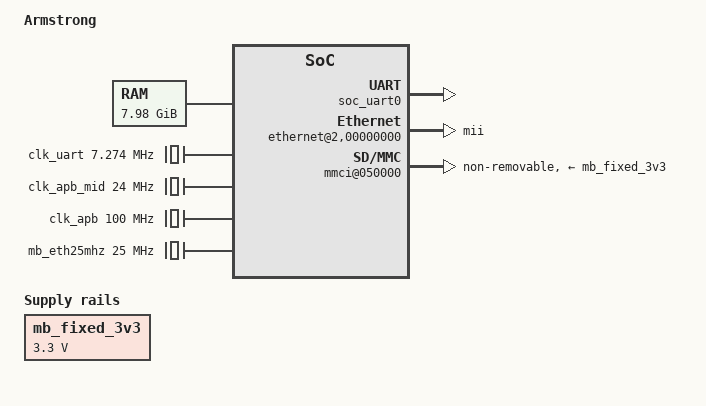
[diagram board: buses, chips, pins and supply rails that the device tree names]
/dts-v1/;

#include <dt-bindings/interrupt-controller/arm-gic.h>

/ {
	model = "Armstrong";
	compatible = "arm,armstrong";
	interrupt-parent = <&gic>;
	#address-cells = <2>;
	#size-cells = <2>;

	aliases {
		serial0 = &soc_uart0;
	};

	cpus {
		#address-cells = <2>;
		#size-cells = <0>;

		cpu-map {
			cluster1 {
				core0 {
					cpu = <&CPU4>;
				};
				core1 {
					cpu = <&CPU5>;
				};
				core2 {
					cpu = <&CPU6>;
				};
				core3 {
					cpu = <&CPU7>;
				};
			};

			cluster0 {
				core0 {
					cpu = <&CPU0>;
				};
				core1 {
					cpu = <&CPU1>;
				};
				core2 {
					cpu = <&CPU2>;
				};
				core3 {
					cpu = <&CPU3>;
				};
			};
		};

		CPU4:cpu@100 {
			device_type = "cpu";
			compatible = "arm,cortex-a53","arm,armv8";
			reg = <0x0 0x100>;
			enable-method = "psci";
			clocks = <&CPUClk 1>;
			clock-names = "vlittle";
		};

		CPU5:cpu@101 {
			device_type = "cpu";
			compatible = "arm,cortex-a53","arm,armv8";
			reg = <0x0 0x101>;
			enable-method = "psci";
			clocks = <&CPUClk 1>;
			clock-names = "vlittle";
		};

		CPU6:cpu@102 {
			device_type = "cpu";
			compatible = "arm,cortex-a53","arm,armv8";
			reg = <0x0 0x102>;
			enable-method = "psci";
			clocks = <&CPUClk 1>;
			clock-names = "vlittle";
		};

		CPU7:cpu@103 {
			device_type = "cpu";
			compatible = "arm,cortex-a53","arm,armv8";
			reg = <0x0 0x103>;
			enable-method = "psci";
			clocks = <&CPUClk 1>;
			clock-names = "vlittle";
		};

		CPU0:cpu@0 {
			device_type = "cpu";
			compatible = "arm,maia","arm,cortex-a57","arm,armv8";
			reg = <0x0 0x0>;
			enable-method = "psci";
			clocks = <&CPUClk 0>;
			clock-names = "vbig";
		};

		CPU1:cpu@1 {
			device_type = "cpu";
			compatible = "arm,maia","arm,cortex-a57","arm,armv8";
			reg = <0x0 0x1>;
			enable-method = "psci";
			clocks = <&CPUClk 0>;
			clock-names = "vbig";
		};

		CPU2:cpu@2 {
			device_type = "cpu";
			compatible = "arm,maia","arm,cortex-a57","arm,armv8";
			reg = <0x0 0x2>;
			enable-method = "psci";
			clocks = <&CPUClk 0>;
			clock-names = "vbig";
		};

		CPU3:cpu@3 {
			device_type = "cpu";
			compatible = "arm,maia","arm,cortex-a57","arm,armv8";
			reg = <0x0 0x3>;
			enable-method = "psci";
			clocks = <&CPUClk 0>;
			clock-names = "vbig";
		};
	};

	memory@80000000 {
		device_type = "memory";
		reg =	<0x0 0x80000000 0x0 0x7f000000>,
			<0x8 0x80000000 0x1 0x80000000>;
	};

	gic: interrupt-controller@2c000000 {
		compatible = "arm,gic-v3";
		#interrupt-cells = <3>;
		#address-cells = <0>;
		interrupt-controller;
		reg =	<0x0 0x2c200000 0x0 0x10000>,	// GICD
			<0x0 0x2c300000 0x0 0x100000>,	// GICR
			<0x0 0x2c000000 0x0 0x2000>,	// GICC
			<0x0 0x2c010000 0x0 0x1000>,	// GICH
			<0x0 0x2c020000 0x0 0x2000>;	// GICV
		interrupts = <GIC_PPI 9 (GIC_CPU_MASK_SIMPLE(8) |
				IRQ_TYPE_LEVEL_HIGH)>;
	};

	timer {
		compatible = "arm,armv8-timer";
		interrupts = <GIC_PPI 13 (GIC_CPU_MASK_SIMPLE(8) |
			     IRQ_TYPE_LEVEL_HIGH)>,
			     <GIC_PPI 14 (GIC_CPU_MASK_SIMPLE(8) |
			     IRQ_TYPE_LEVEL_HIGH)>,
			     <GIC_PPI 11 (GIC_CPU_MASK_SIMPLE(8) |
			     IRQ_TYPE_LEVEL_HIGH)>,
			     <GIC_PPI 10 (GIC_CPU_MASK_SIMPLE(8) |
			     IRQ_TYPE_LEVEL_HIGH)>;
	};

	pmu {
		compatible = "arm,armv8-pmuv3";
		interrupts = <GIC_SPI 60 IRQ_TYPE_LEVEL_HIGH>,
			     <GIC_SPI 61 IRQ_TYPE_LEVEL_HIGH>,
			     <GIC_SPI 62 IRQ_TYPE_LEVEL_HIGH>,
			     <GIC_SPI 63 IRQ_TYPE_LEVEL_HIGH>;
	};

	psci {
		compatible = "arm,psci";
		method = "smc";
		cpu_suspend = <0xc4000001>;
		cpu_off = <0x84000002>;
		cpu_on = <0xc4000003>;
		migrate = <0xc4000005>;
		sys_poweroff = <0x84000008>;
		sys_reset = <0x84000009>;
	};

	clocks {
		compatible = "arm,scpi-clks";

		CPUClk: scpi_clocks@0 {
			compatible = "arm,scpi-clk-indexed";
			#clock-cells = <1>;
			clock-indices = <0x0 0x1 0x2>;
			clock-output-names = "vbig", "vlittle", "vgpu";
		};
	};

	cpufreq {
		compatible = "arm,scpi-cpufreq";
	};

	clk_uart: refclk72738khz {
		compatible = "fixed-clock";
		#clock-cells = <0>;
		clock-frequency = <7273800>;
		clock-output-names = "uartclk";
	};

	clk_apb_mid: clk24mhz {
		compatible = "fixed-clock";
		#clock-cells = <0>;
		clock-frequency = <24000000>;
		clock-output-names = "clockmid";
	};

	clk_apb: refclk100mhz {
		compatible = "fixed-clock";
		#clock-cells = <0>;
		clock-frequency = <100000000>;
		clock-output-names = "apb_pclk";
	};

	dma@0x7ff00000 {
		compatible = "arm,pl330", "arm,primecell";
		reg = <0x0 0x7ff00000 0x0 0x1000>;
		#dma-cells = <1>;
		#dma-channels = <8>;
		#dma-requests = <32>;
		interrupts =	<GIC_SPI  88 IRQ_TYPE_LEVEL_HIGH>,
				<GIC_SPI  89 IRQ_TYPE_LEVEL_HIGH>,
				<GIC_SPI  90 IRQ_TYPE_LEVEL_HIGH>,
				<GIC_SPI  91 IRQ_TYPE_LEVEL_HIGH>,
				<GIC_SPI 108 IRQ_TYPE_LEVEL_HIGH>,
				<GIC_SPI 109 IRQ_TYPE_LEVEL_HIGH>,
				<GIC_SPI 110 IRQ_TYPE_LEVEL_HIGH>,
				<GIC_SPI 111 IRQ_TYPE_LEVEL_HIGH>;
		clocks = <&clk_apb>;
		clock-names = "apb_pclk";
		status = "secure";
	};

	hdlcd@7ff60000 {
		compatible = "arm,hdlcd";
		reg = <0 0x7ff60000 0 0x1000>;
		interrupts = <0 85 4>;

		display-timings {
			native-mode = <&timing0>;
			timing0: timing@0 {
				/* 1024 x 768 framebufer, standard VGA timings */
				clock-frequency = <65000>;
				hactive = <1024>;
				vactive = <768>;
				hfront-porch = <24>;
				hback-porch = <160>;
				hsync-len = <136>;
				vfront-porch = <3>;
				vback-porch = <29>;
				vsync-len = <6>;
			};
		};
	};

	soc_uart0: uart@0x7ff80000 {
		compatible = "arm,pl011", "arm,primecell";
		reg = <0x0 0x7ff80000 0x0 0x1000>;
		interrupts = <GIC_SPI 83 IRQ_TYPE_LEVEL_HIGH>;
		clocks = <&clk_uart &clk_apb>;
		clock-names = "uartclk", "apb_pclk";
	};

	memory-controller@7ffd0000 {
		compatible = "arm,pl354", "arm,primecell";
		reg = <0x0 0x7ffd0000 0x0 0x1000>;
		interrupts = <GIC_SPI 86 IRQ_TYPE_LEVEL_HIGH>,
			     <GIC_SPI 87 IRQ_TYPE_LEVEL_HIGH>;
		clocks = <&clk_apb>;
		clock-names = "apb_pclk";
		chip5-memwidth = <0x10>;
		status = "secure";
	};

	smb {
		compatible = "simple-bus";
		#address-cells = <2>;
		#size-cells = <1>;
		/* chip-select offset parent-hi parent-lo size */
		ranges =	<0 0 0 0x08000000 0x4000000>,
				<1 0 0 0x14000000 0x4000000>,
				<2 0 0 0x18000000 0x4000000>,
				<3 0 0 0x1c000000 0x4000000>,
				<4 0 0 0x0c000000 0x4000000>,
				<5 0 0 0x10000000 0x4000000>;
		#interrupt-cells = <1>;
		interrupt-map-mask = <0x0 0x0 0xf>;
		interrupt-map =	<0 0  0 &gic GIC_SPI  68 IRQ_TYPE_LEVEL_HIGH>,
				<0 0  1 &gic GIC_SPI  69 IRQ_TYPE_LEVEL_HIGH>,
				<0 0  2 &gic GIC_SPI  70 IRQ_TYPE_LEVEL_HIGH>,
				<0 0  3 &gic GIC_SPI 160 IRQ_TYPE_LEVEL_HIGH>,
				<0 0  4 &gic GIC_SPI 161 IRQ_TYPE_LEVEL_HIGH>,
				<0 0  5 &gic GIC_SPI 162 IRQ_TYPE_LEVEL_HIGH>,
				<0 0  6 &gic GIC_SPI 163 IRQ_TYPE_LEVEL_HIGH>,
				<0 0  7 &gic GIC_SPI 164 IRQ_TYPE_LEVEL_HIGH>,
				<0 0  8 &gic GIC_SPI 165 IRQ_TYPE_LEVEL_HIGH>,
				<0 0  9 &gic GIC_SPI 166 IRQ_TYPE_LEVEL_HIGH>,
				<0 0 10 &gic GIC_SPI 167 IRQ_TYPE_LEVEL_HIGH>,
				<0 0 11 &gic GIC_SPI 168 IRQ_TYPE_LEVEL_HIGH>,
				<0 0 12 &gic GIC_SPI 169 IRQ_TYPE_LEVEL_HIGH>,
				<0 0 13 &gic GIC_SPI  73 IRQ_TYPE_LEVEL_HIGH>,
				<0 0 14 &gic GIC_SPI  74 IRQ_TYPE_LEVEL_HIGH>;

		mb_eth25mhz: clk25mhz {
			compatible = "fixed-clock";
			#clock-cells = <0>;
			clock-frequency = <25000000>;
			clock-output-names = "ethclk25mhz";
		};

		motherboard {
			model = "V2M-Armstrong";
			arm,hbi = <0x252>;
			arm,vexpress,site = <0x0>;
			arm,v2m-memory-map = "rs1";
			compatible = "arm,vexpress,v2p-p1", "simple-bus";
			#address-cells = <2>;
			#size-cells = <1>;
			ranges;

			mb_fixed_3v3: fixedregulator@0 {
				compatible = "regulator-fixed";
				regulator-name = "3V3";
				regulator-min-microvolt = <3300000>;
				regulator-max-microvolt = <3300000>;
				regulator-always-on;
				status = "ok";
			};

			ethernet@2,00000000 {
				compatible = "smsc,lan9118", "smsc,lan9115";
				reg = <0x2 0x0 0x10000>;
				interrupts = <3>;
				phy-mode = "mii";
				reg-io-width = <0x4>;
				smsc,irq-active-high;
				smsc,irq-push-pull;
				clocks = <&mb_eth25mhz>;
				vdd33a-supply = <&mb_fixed_3v3>;
				vddvario-supply = <&mb_fixed_3v3>;
			};

			iofpga@3,00000000 {
				compatible = "arm,amba-bus", "simple-bus";
				#address-cells = <1>;
				#size-cells = <1>;
				ranges = <0x0 0x3 0x0 0x200000>;

				mmci@050000 {
					compatible = "arm,pl180", "arm,primecell";
					reg = <0x050000 0x1000>;
					interrupts = <13 14>;
					non-removable;
					max-frequency = <12000000>;
					vmmc-supply = <&mb_fixed_3v3>;
					clocks = <&clk_apb_mid &clk_apb>;
					clock-names = "mclk", "apb_pclk";
				};
			};
		};
	};
};
